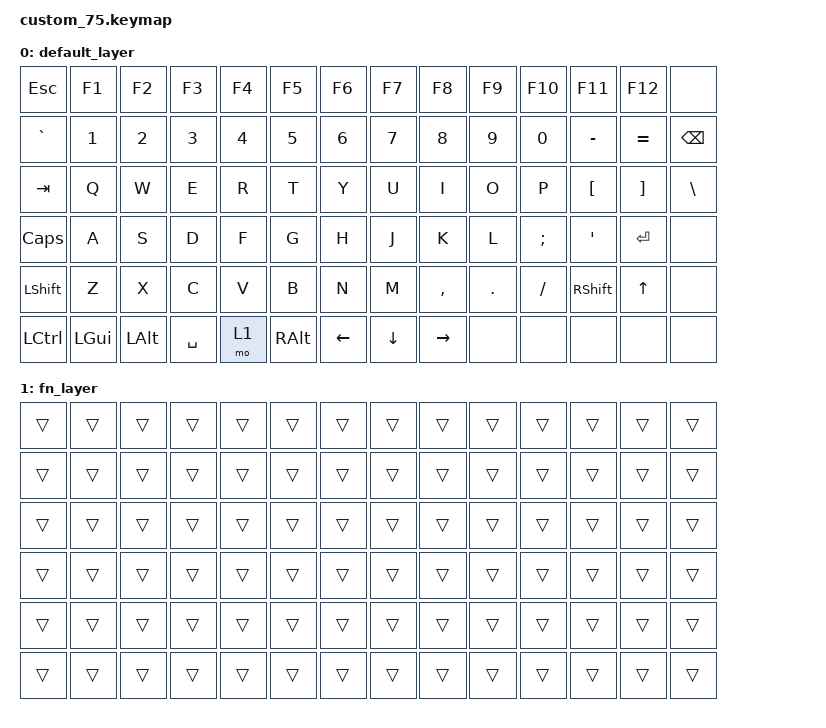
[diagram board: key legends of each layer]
#include <behaviors.dtsi>
#include <dt-bindings/zmk/keys.h>

/ {
    keymap {
        compatible = "zmk,keymap";

        default_layer {
            bindings = <
                // ROW 0
                &kp ESC   &kp F1    &kp F2    &kp F3    &kp F4    &kp F5    &kp F6    &kp F7    &kp F8    &kp F9    &kp F10   &kp F11   &kp F12   &none
                // ROW 1
                &kp GRAVE &kp N1    &kp N2    &kp N3    &kp N4    &kp N5    &kp N6    &kp N7    &kp N8    &kp N9    &kp N0    &kp MINUS &kp EQUAL &kp BSPC
                // ROW 2
                &kp TAB   &kp Q     &kp W     &kp E     &kp R     &kp T     &kp Y     &kp U     &kp I     &kp O     &kp P     &kp LBKT  &kp RBKT  &kp BSLH
                // ROW 3
                &kp CLCK  &kp A     &kp S     &kp D     &kp F     &kp G     &kp H     &kp J     &kp K     &kp L     &kp SEMI  &kp SQT   &kp ENTER &none
                // ROW 4
                &kp LSHFT &kp Z     &kp X     &kp C     &kp V     &kp B     &kp N     &kp M     &kp COMMA &kp DOT   &kp FSLH  &kp RSHFT &kp UP    &none
                // ROW 5
                &kp LCTRL &kp LGUI  &kp LALT  &kp SPACE &mo 1     &kp RALT  &kp LEFT  &kp DOWN  &kp RIGHT &none     &none     &none     &none     &none
            >;
        };

        fn_layer {
            bindings = <
                // FN secondary layer mapping array profile (all pass-through keys by default)
                &trans    &trans    &trans    &trans    &trans    &trans    &trans    &trans    &trans    &trans    &trans    &trans    &trans    &trans
                &trans    &trans    &trans    &trans    &trans    &trans    &trans    &trans    &trans    &trans    &trans    &trans    &trans    &trans
                &trans    &trans    &trans    &trans    &trans    &trans    &trans    &trans    &trans    &trans    &trans    &trans    &trans    &trans
                &trans    &trans    &trans    &trans    &trans    &trans    &trans    &trans    &trans    &trans    &trans    &trans    &trans    &trans
                &trans    &trans    &trans    &trans    &trans    &trans    &trans    &trans    &trans    &trans    &trans    &trans    &trans    &trans
                &trans    &trans    &trans    &trans    &trans    &trans    &trans    &trans    &trans    &trans    &trans    &trans    &trans    &trans
            >;
        };
    };
};
